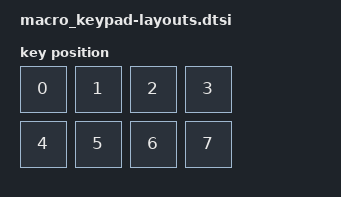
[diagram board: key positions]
#include <physical_layouts.dtsi>
#include <dt-bindings/zmk/matrix_transform.h>

/ {
    
    macro_keypad_physical_layout: macro_keypad_physical_layout {
        compatible = "zmk,physical-layout";
        display-name = "Macro Keypad";
        transform = <&default_transform>;
        kscan = <&kscan0>;
        keys  //                     w   h    x    y     rot    rx    ry
            = <&key_physical_attrs 100 100    0    0       0     0     0>
            , <&key_physical_attrs 100 100  110    0       0     0     0>
            , <&key_physical_attrs 100 100  220    0       0     0     0>
            , <&key_physical_attrs 100 100  330    0       0     0     0>
            , <&key_physical_attrs 100 100    0    110       0     0     0>
            , <&key_physical_attrs 100 100  110    110       0     0     0>
            , <&key_physical_attrs 100 100  220    110       0     0     0>
            , <&key_physical_attrs 100 100  330    110       0     0     0>
            ;
    };
};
